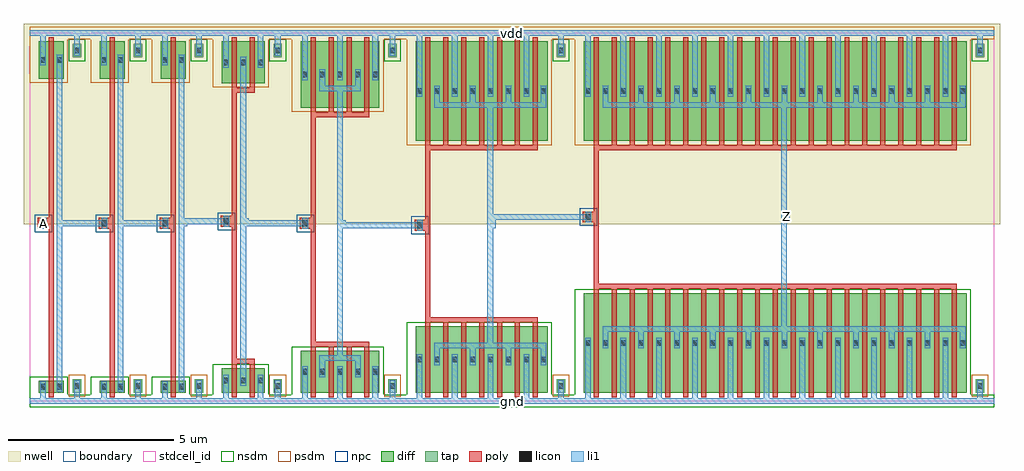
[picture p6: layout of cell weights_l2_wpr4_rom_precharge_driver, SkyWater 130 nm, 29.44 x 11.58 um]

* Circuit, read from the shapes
.subckt weights_l2_wpr4_rom_precharge_driver A Z gnd vdd
XM1 weights_l2_wpr4_pinv_1/A A gnd gnd sky130_fd_pr__nfet_01v8 w=0.36 l=0.15
XM2 weights_l2_wpr4_pinv_2/A weights_l2_wpr4_pinv_1/A gnd gnd sky130_fd_pr__nfet_01v8 w=0.36 l=0.15
XM3 weights_l2_wpr4_pinv_0_3/A weights_l2_wpr4_pinv_2/A gnd gnd sky130_fd_pr__nfet_01v8 w=0.36 l=0.15
XM4 weights_l2_wpr4_pinv_2_4/A weights_l2_wpr4_pinv_0_3/A gnd gnd sky130_fd_pr__nfet_01v8 w=0.74 l=0.15 m=2
XM5 weights_l2_wpr4_pinv_3_5/A weights_l2_wpr4_pinv_2_4/A gnd gnd sky130_fd_pr__nfet_01v8 w=1.26 l=0.15 m=4
XM6 weights_l2_wpr4_pinv_4_6/A weights_l2_wpr4_pinv_3_5/A gnd gnd sky130_fd_pr__nfet_01v8 w=2 l=0.15 m=7
XM7 Z weights_l2_wpr4_pinv_4_6/A gnd gnd sky130_fd_pr__nfet_01v8 w=3 l=0.15 m=21
XM8 weights_l2_wpr4_pinv_1/A A vdd vdd sky130_fd_pr__pfet_01v8 w=1.12 l=0.15
XM9 weights_l2_wpr4_pinv_2/A weights_l2_wpr4_pinv_1/A vdd vdd sky130_fd_pr__pfet_01v8 w=1.12 l=0.15
XM10 weights_l2_wpr4_pinv_0_3/A weights_l2_wpr4_pinv_2/A vdd vdd sky130_fd_pr__pfet_01v8 w=1.12 l=0.15
XM11 weights_l2_wpr4_pinv_2_4/A weights_l2_wpr4_pinv_0_3/A vdd vdd sky130_fd_pr__pfet_01v8 w=1.26 l=0.15 m=2
XM12 weights_l2_wpr4_pinv_3_5/A weights_l2_wpr4_pinv_2_4/A vdd vdd sky130_fd_pr__pfet_01v8 w=2 l=0.15 m=4
XM13 weights_l2_wpr4_pinv_4_6/A weights_l2_wpr4_pinv_3_5/A vdd vdd sky130_fd_pr__pfet_01v8 w=3 l=0.15 m=7
XM14 Z weights_l2_wpr4_pinv_4_6/A vdd vdd sky130_fd_pr__pfet_01v8 w=3 l=0.15 m=21
.ends

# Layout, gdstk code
import gdstk
lib = gdstk.Library(unit=1e-6, precision=1e-09)
def R(c, l, rs):  # rectangles x0, y0, x1, y1
    for r in rs: c.add(gdstk.rectangle(r[:2], r[2:], *l))
def A(c, l, x, y, w, h, nx, ny, dx, dy):  # array of equal rectangles
    R(c, l, [(x+i*dx, y+j*dy, x+i*dx+w, y+j*dy+h) for i in range(nx) for j in range(ny)])
nwell = (64, 20)
diff = (65, 20)
tap = (65, 44)
poly = (66, 20)
licon = (66, 44)
li1 = (67, 20)
stdcell_id = (81, 4)
nsdm = (93, 44)
psdm = (94, 20)
npc = (95, 20)
boundary = (235, 4)

weights_l2_wpr4_contact_ = lib.new_cell('weights_l2_wpr4_contact_10')
R(weights_l2_wpr4_contact_, nwell, [(-0.295,-0.255,0.545,0.585)])
R(weights_l2_wpr4_contact_, diff, [(0,0.02,0.25,0.31)])
R(weights_l2_wpr4_contact_, licon, [(0.04,0.08,0.21,0.25)])
R(weights_l2_wpr4_contact_, li1, [(0.04,0,0.21,0.33)])
R(weights_l2_wpr4_contact_, stdcell_id, [(-0.295,-0.255,0.545,0.585)])
R(weights_l2_wpr4_contact_, psdm, [(-0.125,-0.105,0.375,0.435)])
R(weights_l2_wpr4_contact_, boundary, [(-0.295,-0.255,0.545,0.585)])

weights_l2_wpr4_pmos_m1_ = lib.new_cell('weights_l2_wpr4_pmos_m1_w1_120_sli_dli_da_p')
R(weights_l2_wpr4_pmos_m1_, nwell, [(-0.27,-0.27,1.02,1.39)])
R(weights_l2_wpr4_pmos_m1_, diff, [(0,0,0.75,1.12)])
R(weights_l2_wpr4_pmos_m1_, poly, [(0.3,-0.13,0.45,1.25), (0.3,-0.13,0.45,1.25)])
R(weights_l2_wpr4_pmos_m1_, li1, [(0.04,0.395,0.21,0.725), (0.54,0.395,0.71,0.725)])
R(weights_l2_wpr4_pmos_m1_, stdcell_id, [(-0.27,-0.27,1.02,1.39)])
R(weights_l2_wpr4_pmos_m1_, psdm, [(-0.125,-0.125,0.875,1.245)])
R(weights_l2_wpr4_pmos_m1_, boundary, [(-0.27,-0.27,1.02,1.39)])
weights_l2_wpr4_pmos_m1_.add(gdstk.Reference(weights_l2_wpr4_contact_, (0,0.395)))
weights_l2_wpr4_pmos_m1_.add(gdstk.Reference(weights_l2_wpr4_contact_, (0.5,0.395)))
weights_l2_wpr4_pmos_m1_.add(gdstk.Label('G', (0.375,0.56), layer=66, texttype=5))
weights_l2_wpr4_pmos_m1_.add(gdstk.Label('S', (0.125,0.56), layer=67, texttype=5))
weights_l2_wpr4_pmos_m1_.add(gdstk.Label('D', (0.625,0.56), layer=67, texttype=5))

c_weights_l2_wpr4_contact_ = lib.new_cell('weights_l2_wpr4_contact_8')
R(c_weights_l2_wpr4_contact_, diff, [(0,0.02,0.25,0.31)])
R(c_weights_l2_wpr4_contact_, licon, [(0.04,0.08,0.21,0.25)])
R(c_weights_l2_wpr4_contact_, li1, [(0.04,0,0.21,0.33)])
R(c_weights_l2_wpr4_contact_, stdcell_id, [(-0.125,-0.105,0.375,0.435)])
R(c_weights_l2_wpr4_contact_, nsdm, [(-0.125,-0.105,0.375,0.435)])
R(c_weights_l2_wpr4_contact_, boundary, [(-0.125,-0.105,0.375,0.435)])

weights_l2_wpr4_nmos_m1_ = lib.new_cell('weights_l2_wpr4_nmos_m1_w0_360_sli_dli_da_p')
R(weights_l2_wpr4_nmos_m1_, diff, [(0,0,0.75,0.36)])
R(weights_l2_wpr4_nmos_m1_, poly, [(0.3,-0.13,0.45,0.49), (0.3,-0.13,0.45,0.49)])
R(weights_l2_wpr4_nmos_m1_, li1, [(0.04,0.015,0.21,0.345), (0.54,0.015,0.71,0.345)])
R(weights_l2_wpr4_nmos_m1_, stdcell_id, [(-0.125,-0.13,0.875,0.49)])
R(weights_l2_wpr4_nmos_m1_, nsdm, [(-0.125,-0.125,0.875,0.485)])
R(weights_l2_wpr4_nmos_m1_, boundary, [(-0.125,-0.13,0.875,0.49)])
weights_l2_wpr4_nmos_m1_.add(gdstk.Reference(c_weights_l2_wpr4_contact_, (0,0.015)))
weights_l2_wpr4_nmos_m1_.add(gdstk.Reference(c_weights_l2_wpr4_contact_, (0.5,0.015)))
weights_l2_wpr4_nmos_m1_.add(gdstk.Label('G', (0.375,0.18), layer=66, texttype=5))
weights_l2_wpr4_nmos_m1_.add(gdstk.Label('S', (0.125,0.18), layer=67, texttype=5))
weights_l2_wpr4_nmos_m1_.add(gdstk.Label('D', (0.625,0.18), layer=67, texttype=5))

c_weights_l2_wpr4_contact__ = lib.new_cell('weights_l2_wpr4_contact_26')
R(c_weights_l2_wpr4_contact__, nwell, [(-0.295,-0.215,0.545,0.625)])
R(c_weights_l2_wpr4_contact__, tap, [(0,0,0.25,0.41)])
R(c_weights_l2_wpr4_contact__, licon, [(0.04,0.12,0.21,0.29)])
R(c_weights_l2_wpr4_contact__, li1, [(0.04,0.04,0.21,0.37)])
R(c_weights_l2_wpr4_contact__, stdcell_id, [(-0.295,-0.215,0.545,0.625)])
R(c_weights_l2_wpr4_contact__, nsdm, [(-0.125,-0.125,0.375,0.535)])
R(c_weights_l2_wpr4_contact__, boundary, [(-0.295,-0.215,0.545,0.625)])

c_weights_l2_wpr4_contact___ = lib.new_cell('weights_l2_wpr4_contact_27')
R(c_weights_l2_wpr4_contact___, tap, [(0,0,0.25,0.41)])
R(c_weights_l2_wpr4_contact___, licon, [(0.04,0.12,0.21,0.29)])
R(c_weights_l2_wpr4_contact___, li1, [(0.04,0.04,0.21,0.37)])
R(c_weights_l2_wpr4_contact___, stdcell_id, [(-0.125,-0.125,0.375,0.535)])
R(c_weights_l2_wpr4_contact___, psdm, [(-0.125,-0.125,0.375,0.535)])
R(c_weights_l2_wpr4_contact___, boundary, [(-0.125,-0.125,0.375,0.535)])

c_weights_l2_wpr4_contact____ = lib.new_cell('weights_l2_wpr4_contact_11')
R(c_weights_l2_wpr4_contact____, poly, [(0,0,0.33,0.33)])
R(c_weights_l2_wpr4_contact____, licon, [(0.08,0.08,0.25,0.25)])
R(c_weights_l2_wpr4_contact____, li1, [(0.08,0,0.25,0.33)])
R(c_weights_l2_wpr4_contact____, stdcell_id, [(-0.1,-0.1,0.43,0.43)])
R(c_weights_l2_wpr4_contact____, npc, [(-0.1,-0.1,0.43,0.43)])
R(c_weights_l2_wpr4_contact____, boundary, [(-0.1,-0.1,0.43,0.43)])

weights_l2_wpr4_pinv = lib.new_cell('weights_l2_wpr4_pinv')
R(weights_l2_wpr4_pinv, nwell, [(-0.18,5.33,2.02,11.39)])
R(weights_l2_wpr4_pinv, poly, [(0.57,0.745,0.72,9.6), (0.405,5.2,0.57,5.53)])
R(weights_l2_wpr4_pinv, li1, [(0,-0.085,1.84,0.085), (0.31,-0.085,0.48,0.27), (1.33,0,1.5,0.46), (0.81,0.27,0.98,10.455), (0.32,5.2,0.49,5.53), (0.895,5.28,1.065,5.45), (0.31,10.125,0.48,11.19), (1.33,10.58,1.5,11.1), (0,11.02,1.84,11.19)])
R(weights_l2_wpr4_pinv, stdcell_id, [(0,0,1.84,11.1), (0,0,1.84,11.1)])
R(weights_l2_wpr4_pinv, nsdm, [(0,-0.19,1.84,0.19), (0,0,1.145,0.74)])
R(weights_l2_wpr4_pinv, psdm, [(0,9.605,1.145,11.105), (0,10.91,1.84,11.29)])
R(weights_l2_wpr4_pinv, boundary, [(0,0,1.84,11.1), (0,0,1.84,11.1)])
weights_l2_wpr4_pinv.add(gdstk.Reference(weights_l2_wpr4_pmos_m1_, (0.27,9.73)))
weights_l2_wpr4_pinv.add(gdstk.Reference(weights_l2_wpr4_nmos_m1_, (0.27,0.255)))
weights_l2_wpr4_pinv.add(gdstk.Reference(c_weights_l2_wpr4_contact__, (1.29,10.375)))
weights_l2_wpr4_pinv.add(gdstk.Reference(c_weights_l2_wpr4_contact___, (1.29,0.255)))
weights_l2_wpr4_pinv.add(gdstk.Reference(c_weights_l2_wpr4_contact____, (0.24,5.2)))
weights_l2_wpr4_pinv.add(gdstk.Label('A', (0.405,5.365), layer=67, texttype=5))
weights_l2_wpr4_pinv.add(gdstk.Label('Z', (0.98,5.365), layer=67, texttype=5))
weights_l2_wpr4_pinv.add(gdstk.Label('gnd', (0.92,0), layer=67, texttype=5))
weights_l2_wpr4_pinv.add(gdstk.Label('vdd', (0.92,11.105), layer=67, texttype=5))

weights_l2_wpr4_pmos_m2_ = lib.new_cell('weights_l2_wpr4_pmos_m2_w1_260_sli_dli_da_p')
R(weights_l2_wpr4_pmos_m2_, nwell, [(-0.27,-0.27,1.56,1.53)])
R(weights_l2_wpr4_pmos_m2_, diff, [(0,0,1.29,1.26)])
R(weights_l2_wpr4_pmos_m2_, poly, [(0.3,-0.28,0.99,-0.13), (0.3,-0.13,0.45,1.39), (0.84,-0.13,0.99,1.39)])
A(weights_l2_wpr4_pmos_m2_, li1, 0.04, 0.465, 0.17, 0.33, 3, 1, 0.52, 0)
R(weights_l2_wpr4_pmos_m2_, stdcell_id, [(-0.27,-0.28,1.56,1.53)])
R(weights_l2_wpr4_pmos_m2_, psdm, [(-0.125,-0.125,1.415,1.385)])
R(weights_l2_wpr4_pmos_m2_, boundary, [(-0.27,-0.28,1.56,1.53)])
weights_l2_wpr4_pmos_m2_.add(gdstk.Reference(weights_l2_wpr4_contact_, (0,0.465)))
weights_l2_wpr4_pmos_m2_.add(gdstk.Reference(weights_l2_wpr4_contact_, (0.52,0.465)))
weights_l2_wpr4_pmos_m2_.add(gdstk.Reference(weights_l2_wpr4_contact_, (1.04,0.465)))
weights_l2_wpr4_pmos_m2_.add(gdstk.Label('G', (0.645,-0.205), layer=66, texttype=5))
weights_l2_wpr4_pmos_m2_.add(gdstk.Label('S', (0.125,0.63), layer=67, texttype=5))
weights_l2_wpr4_pmos_m2_.add(gdstk.Label('S', (1.165,0.63), layer=67, texttype=5))
weights_l2_wpr4_pmos_m2_.add(gdstk.Label('D', (0.645,0.63), layer=67, texttype=5))

weights_l2_wpr4_nmos_m2_ = lib.new_cell('weights_l2_wpr4_nmos_m2_w0_740_sli_dli_da_p')
R(weights_l2_wpr4_nmos_m2_, diff, [(0,0,1.29,0.74)])
R(weights_l2_wpr4_nmos_m2_, poly, [(0.3,-0.13,0.45,0.87), (0.84,-0.13,0.99,0.87), (0.3,0.87,0.99,1.02)])
A(weights_l2_wpr4_nmos_m2_, li1, 0.04, 0.205, 0.17, 0.33, 3, 1, 0.52, 0)
R(weights_l2_wpr4_nmos_m2_, stdcell_id, [(-0.125,-0.13,1.415,1.02)])
R(weights_l2_wpr4_nmos_m2_, nsdm, [(-0.125,-0.125,1.415,0.865)])
R(weights_l2_wpr4_nmos_m2_, boundary, [(-0.125,-0.13,1.415,1.02)])
weights_l2_wpr4_nmos_m2_.add(gdstk.Reference(c_weights_l2_wpr4_contact_, (0,0.205)))
weights_l2_wpr4_nmos_m2_.add(gdstk.Reference(c_weights_l2_wpr4_contact_, (0.52,0.205)))
weights_l2_wpr4_nmos_m2_.add(gdstk.Reference(c_weights_l2_wpr4_contact_, (1.04,0.205)))
weights_l2_wpr4_nmos_m2_.add(gdstk.Label('G', (0.645,0.945), layer=66, texttype=5))
weights_l2_wpr4_nmos_m2_.add(gdstk.Label('S', (0.125,0.37), layer=67, texttype=5))
weights_l2_wpr4_nmos_m2_.add(gdstk.Label('S', (1.165,0.37), layer=67, texttype=5))
weights_l2_wpr4_nmos_m2_.add(gdstk.Label('D', (0.645,0.37), layer=67, texttype=5))

weights_l2_wpr4_pinv_0 = lib.new_cell('weights_l2_wpr4_pinv_0')
R(weights_l2_wpr4_pinv_0, nwell, [(-0.18,5.33,2.56,11.39)])
R(weights_l2_wpr4_pinv_0, poly, [(0.57,1.275,0.72,9.31), (0.405,5.26,0.57,5.59)])
R(weights_l2_wpr4_pinv_0, li1, [(0,-0.085,2.38,0.085), (0.31,-0.085,0.48,0.46), (1.35,-0.085,1.52,0.46), (1.87,0,2.04,0.46), (0.83,0.46,1,10.385), (0.32,5.26,0.49,5.59), (0.915,5.34,1.085,5.51), (0.31,10.055,0.48,11.19), (1.35,10.055,1.52,11.19), (1.87,10.58,2.04,11.1), (0,11.02,2.38,11.19)])
R(weights_l2_wpr4_pinv_0, stdcell_id, [(0,0,2.38,11.1), (0,0,2.38,11.1)])
R(weights_l2_wpr4_pinv_0, nsdm, [(0,-0.19,2.38,0.19), (0,0,1.685,1.12)])
R(weights_l2_wpr4_pinv_0, psdm, [(0,9.465,1.685,11.105), (0,10.91,2.38,11.29)])
R(weights_l2_wpr4_pinv_0, boundary, [(0,0,2.38,11.1), (0,0,2.38,11.1)])
weights_l2_wpr4_pinv_0.add(gdstk.Reference(weights_l2_wpr4_pmos_m2_, (0.27,9.59)))
weights_l2_wpr4_pinv_0.add(gdstk.Reference(weights_l2_wpr4_nmos_m2_, (0.27,0.255)))
weights_l2_wpr4_pinv_0.add(gdstk.Reference(c_weights_l2_wpr4_contact__, (1.83,10.375)))
weights_l2_wpr4_pinv_0.add(gdstk.Reference(c_weights_l2_wpr4_contact___, (1.83,0.255)))
weights_l2_wpr4_pinv_0.add(gdstk.Reference(c_weights_l2_wpr4_contact____, (0.24,5.26)))
weights_l2_wpr4_pinv_0.add(gdstk.Label('A', (0.405,5.425), layer=67, texttype=5))
weights_l2_wpr4_pinv_0.add(gdstk.Label('Z', (1,5.425), layer=67, texttype=5))
weights_l2_wpr4_pinv_0.add(gdstk.Label('gnd', (1.19,0), layer=67, texttype=5))
weights_l2_wpr4_pinv_0.add(gdstk.Label('vdd', (1.19,11.105), layer=67, texttype=5))

weights_l2_wpr4_pmos_m4_ = lib.new_cell('weights_l2_wpr4_pmos_m4_w2_000_sli_dli_da_p')
R(weights_l2_wpr4_pmos_m4_, nwell, [(-0.27,-0.27,2.64,2.27)])
R(weights_l2_wpr4_pmos_m4_, diff, [(0,0,2.37,2)])
A(weights_l2_wpr4_pmos_m4_, poly, 0.3, -0.13, 0.15, 2.26, 4, 1, 0.54, 0)
R(weights_l2_wpr4_pmos_m4_, poly, [(0.3,-0.28,2.07,-0.13)])
A(weights_l2_wpr4_pmos_m4_, li1, 0.04, 0.835, 0.17, 0.33, 3, 1, 1.06, 0)
R(weights_l2_wpr4_pmos_m4_, li1, [(0.56,0.495,1.81,0.665), (0.56,0.58,0.73,1), (1.64,0.58,1.81,1)])
R(weights_l2_wpr4_pmos_m4_, stdcell_id, [(-0.27,-0.28,2.64,2.27)])
R(weights_l2_wpr4_pmos_m4_, psdm, [(-0.125,-0.125,2.495,2.125)])
R(weights_l2_wpr4_pmos_m4_, boundary, [(-0.27,-0.28,2.64,2.27)])
weights_l2_wpr4_pmos_m4_.add(gdstk.Reference(weights_l2_wpr4_contact_, (0,0.835)))
weights_l2_wpr4_pmos_m4_.add(gdstk.Reference(weights_l2_wpr4_contact_, (0.52,0.835)))
weights_l2_wpr4_pmos_m4_.add(gdstk.Reference(weights_l2_wpr4_contact_, (1.06,0.835)))
weights_l2_wpr4_pmos_m4_.add(gdstk.Reference(weights_l2_wpr4_contact_, (1.6,0.835)))
weights_l2_wpr4_pmos_m4_.add(gdstk.Reference(weights_l2_wpr4_contact_, (2.12,0.835)))
weights_l2_wpr4_pmos_m4_.add(gdstk.Label('G', (1.185,-0.205), layer=66, texttype=5))
weights_l2_wpr4_pmos_m4_.add(gdstk.Label('S', (0.125,1), layer=67, texttype=5))
weights_l2_wpr4_pmos_m4_.add(gdstk.Label('S', (1.185,1), layer=67, texttype=5))
weights_l2_wpr4_pmos_m4_.add(gdstk.Label('S', (2.245,1), layer=67, texttype=5))
weights_l2_wpr4_pmos_m4_.add(gdstk.Label('D', (1.185,0.58), layer=67, texttype=5))

weights_l2_wpr4_nmos_m4_ = lib.new_cell('weights_l2_wpr4_nmos_m4_w1_260_sli_dli_da_p')
R(weights_l2_wpr4_nmos_m4_, diff, [(0,0,2.37,1.26)])
A(weights_l2_wpr4_nmos_m4_, poly, 0.3, -0.13, 0.15, 1.52, 4, 1, 0.54, 0)
R(weights_l2_wpr4_nmos_m4_, poly, [(0.3,1.39,2.07,1.54)])
A(weights_l2_wpr4_nmos_m4_, li1, 0.04, 0.465, 0.17, 0.33, 3, 1, 1.06, 0)
R(weights_l2_wpr4_nmos_m4_, li1, [(0.56,0.63,0.73,1.05), (1.64,0.63,1.81,1.05), (0.56,0.965,1.81,1.135)])
R(weights_l2_wpr4_nmos_m4_, stdcell_id, [(-0.125,-0.13,2.495,1.54)])
R(weights_l2_wpr4_nmos_m4_, nsdm, [(-0.125,-0.125,2.495,1.385)])
R(weights_l2_wpr4_nmos_m4_, boundary, [(-0.125,-0.13,2.495,1.54)])
weights_l2_wpr4_nmos_m4_.add(gdstk.Reference(c_weights_l2_wpr4_contact_, (0,0.465)))
weights_l2_wpr4_nmos_m4_.add(gdstk.Reference(c_weights_l2_wpr4_contact_, (0.52,0.465)))
weights_l2_wpr4_nmos_m4_.add(gdstk.Reference(c_weights_l2_wpr4_contact_, (1.06,0.465)))
weights_l2_wpr4_nmos_m4_.add(gdstk.Reference(c_weights_l2_wpr4_contact_, (1.6,0.465)))
weights_l2_wpr4_nmos_m4_.add(gdstk.Reference(c_weights_l2_wpr4_contact_, (2.12,0.465)))
weights_l2_wpr4_nmos_m4_.add(gdstk.Label('G', (1.185,1.465), layer=66, texttype=5))
weights_l2_wpr4_nmos_m4_.add(gdstk.Label('S', (2.245,0.63), layer=67, texttype=5))
weights_l2_wpr4_nmos_m4_.add(gdstk.Label('S', (0.125,0.63), layer=67, texttype=5))
weights_l2_wpr4_nmos_m4_.add(gdstk.Label('S', (1.185,0.63), layer=67, texttype=5))
weights_l2_wpr4_nmos_m4_.add(gdstk.Label('D', (1.185,1.05), layer=67, texttype=5))

weights_l2_wpr4_pinv_2 = lib.new_cell('weights_l2_wpr4_pinv_2')
R(weights_l2_wpr4_pinv_2, nwell, [(-0.18,5.33,3.64,11.39)])
R(weights_l2_wpr4_pinv_2, poly, [(0.57,1.795,0.72,8.57), (0.405,5.2,0.57,5.53)])
A(weights_l2_wpr4_pinv_2, li1, 0.31, -0.085, 0.17, 0.805, 3, 1, 1.06, 0)
A(weights_l2_wpr4_pinv_2, li1, 0.31, 9.685, 0.17, 1.505, 3, 1, 1.06, 0)
R(weights_l2_wpr4_pinv_2, li1, [(0,-0.085,3.46,0.085), (2.95,0,3.12,0.46), (1.37,1.22,1.54,9.515), (0.32,5.2,0.49,5.53), (1.455,5.28,1.625,5.45), (2.95,10.58,3.12,11.1), (0,11.02,3.46,11.19)])
R(weights_l2_wpr4_pinv_2, stdcell_id, [(0,0,3.46,11.1), (0,0,3.46,11.1)])
R(weights_l2_wpr4_pinv_2, nsdm, [(0,-0.19,3.46,0.19), (0,0,2.765,1.64)])
R(weights_l2_wpr4_pinv_2, psdm, [(0,8.725,2.765,11.105), (0,10.91,3.46,11.29)])
R(weights_l2_wpr4_pinv_2, boundary, [(0,0,3.46,11.1), (0,0,3.46,11.1)])
weights_l2_wpr4_pinv_2.add(gdstk.Reference(weights_l2_wpr4_pmos_m4_, (0.27,8.85)))
weights_l2_wpr4_pinv_2.add(gdstk.Reference(weights_l2_wpr4_nmos_m4_, (0.27,0.255)))
weights_l2_wpr4_pinv_2.add(gdstk.Reference(c_weights_l2_wpr4_contact__, (2.91,10.375)))
weights_l2_wpr4_pinv_2.add(gdstk.Reference(c_weights_l2_wpr4_contact___, (2.91,0.255)))
weights_l2_wpr4_pinv_2.add(gdstk.Reference(c_weights_l2_wpr4_contact____, (0.24,5.2)))
weights_l2_wpr4_pinv_2.add(gdstk.Label('A', (0.405,5.365), layer=67, texttype=5))
weights_l2_wpr4_pinv_2.add(gdstk.Label('Z', (1.54,5.365), layer=67, texttype=5))
weights_l2_wpr4_pinv_2.add(gdstk.Label('gnd', (1.73,0), layer=67, texttype=5))
weights_l2_wpr4_pinv_2.add(gdstk.Label('vdd', (1.73,11.105), layer=67, texttype=5))

weights_l2_wpr4_pmos_m7_ = lib.new_cell('weights_l2_wpr4_pmos_m7_w3_000_sli_dli_da_p')
R(weights_l2_wpr4_pmos_m7_, nwell, [(-0.27,-0.27,4.26,3.27)])
R(weights_l2_wpr4_pmos_m7_, diff, [(0,0,3.99,3)])
A(weights_l2_wpr4_pmos_m7_, poly, 0.3, -0.13, 0.15, 3.26, 7, 1, 0.54, 0)
R(weights_l2_wpr4_pmos_m7_, poly, [(0.3,-0.28,3.69,-0.13)])
A(weights_l2_wpr4_pmos_m7_, li1, 0.56, 1.08, 0.17, 0.42, 3, 1, 1.08, 0)
A(weights_l2_wpr4_pmos_m7_, li1, 1.1, 1.335, 0.17, 0.33, 3, 1, 1.08, 0)
R(weights_l2_wpr4_pmos_m7_, li1, [(0.56,0.995,3.95,1.165), (3.78,1.08,3.95,1.5), (0.04,1.335,0.21,1.665)])
R(weights_l2_wpr4_pmos_m7_, stdcell_id, [(-0.27,-0.28,4.26,3.27)])
R(weights_l2_wpr4_pmos_m7_, psdm, [(-0.125,-0.125,4.115,3.125)])
R(weights_l2_wpr4_pmos_m7_, boundary, [(-0.27,-0.28,4.26,3.27)])
weights_l2_wpr4_pmos_m7_.add(gdstk.Reference(weights_l2_wpr4_contact_, (0,1.335)))
weights_l2_wpr4_pmos_m7_.add(gdstk.Reference(weights_l2_wpr4_contact_, (0.52,1.335)))
weights_l2_wpr4_pmos_m7_.add(gdstk.Reference(weights_l2_wpr4_contact_, (1.06,1.335)))
weights_l2_wpr4_pmos_m7_.add(gdstk.Reference(weights_l2_wpr4_contact_, (1.6,1.335)))
weights_l2_wpr4_pmos_m7_.add(gdstk.Reference(weights_l2_wpr4_contact_, (2.14,1.335)))
weights_l2_wpr4_pmos_m7_.add(gdstk.Reference(weights_l2_wpr4_contact_, (2.68,1.335)))
weights_l2_wpr4_pmos_m7_.add(gdstk.Reference(weights_l2_wpr4_contact_, (3.22,1.335)))
weights_l2_wpr4_pmos_m7_.add(gdstk.Reference(weights_l2_wpr4_contact_, (3.74,1.335)))
weights_l2_wpr4_pmos_m7_.add(gdstk.Label('G', (1.995,-0.205), layer=66, texttype=5))
weights_l2_wpr4_pmos_m7_.add(gdstk.Label('S', (2.265,1.5), layer=67, texttype=5))
weights_l2_wpr4_pmos_m7_.add(gdstk.Label('S', (0.125,1.5), layer=67, texttype=5))
weights_l2_wpr4_pmos_m7_.add(gdstk.Label('S', (3.345,1.5), layer=67, texttype=5))
weights_l2_wpr4_pmos_m7_.add(gdstk.Label('S', (1.185,1.5), layer=67, texttype=5))
weights_l2_wpr4_pmos_m7_.add(gdstk.Label('D', (2.255,1.08), layer=67, texttype=5))

weights_l2_wpr4_nmos_m7_ = lib.new_cell('weights_l2_wpr4_nmos_m7_w2_000_sli_dli_da_p')
R(weights_l2_wpr4_nmos_m7_, diff, [(0,0,3.99,2)])
A(weights_l2_wpr4_nmos_m7_, poly, 0.3, -0.13, 0.15, 2.26, 7, 1, 0.54, 0)
R(weights_l2_wpr4_nmos_m7_, poly, [(0.3,2.13,3.69,2.28)])
A(weights_l2_wpr4_nmos_m7_, li1, 1.1, 0.835, 0.17, 0.33, 3, 1, 1.08, 0)
A(weights_l2_wpr4_nmos_m7_, li1, 0.56, 1, 0.17, 0.42, 3, 1, 1.08, 0)
R(weights_l2_wpr4_nmos_m7_, li1, [(0.04,0.835,0.21,1.165), (3.78,1,3.95,1.42), (0.56,1.335,3.95,1.505)])
R(weights_l2_wpr4_nmos_m7_, stdcell_id, [(-0.125,-0.13,4.115,2.28)])
R(weights_l2_wpr4_nmos_m7_, nsdm, [(-0.125,-0.125,4.115,2.125)])
R(weights_l2_wpr4_nmos_m7_, boundary, [(-0.125,-0.13,4.115,2.28)])
weights_l2_wpr4_nmos_m7_.add(gdstk.Reference(c_weights_l2_wpr4_contact_, (0,0.835)))
weights_l2_wpr4_nmos_m7_.add(gdstk.Reference(c_weights_l2_wpr4_contact_, (0.52,0.835)))
weights_l2_wpr4_nmos_m7_.add(gdstk.Reference(c_weights_l2_wpr4_contact_, (1.06,0.835)))
weights_l2_wpr4_nmos_m7_.add(gdstk.Reference(c_weights_l2_wpr4_contact_, (1.6,0.835)))
weights_l2_wpr4_nmos_m7_.add(gdstk.Reference(c_weights_l2_wpr4_contact_, (2.14,0.835)))
weights_l2_wpr4_nmos_m7_.add(gdstk.Reference(c_weights_l2_wpr4_contact_, (2.68,0.835)))
weights_l2_wpr4_nmos_m7_.add(gdstk.Reference(c_weights_l2_wpr4_contact_, (3.22,0.835)))
weights_l2_wpr4_nmos_m7_.add(gdstk.Reference(c_weights_l2_wpr4_contact_, (3.74,0.835)))
weights_l2_wpr4_nmos_m7_.add(gdstk.Label('G', (1.995,2.205), layer=66, texttype=5))
weights_l2_wpr4_nmos_m7_.add(gdstk.Label('S', (0.125,1), layer=67, texttype=5))
weights_l2_wpr4_nmos_m7_.add(gdstk.Label('S', (2.265,1), layer=67, texttype=5))
weights_l2_wpr4_nmos_m7_.add(gdstk.Label('S', (1.185,1), layer=67, texttype=5))
weights_l2_wpr4_nmos_m7_.add(gdstk.Label('S', (3.345,1), layer=67, texttype=5))
weights_l2_wpr4_nmos_m7_.add(gdstk.Label('D', (2.255,1.42), layer=67, texttype=5))

weights_l2_wpr4_pinv_3 = lib.new_cell('weights_l2_wpr4_pinv_3')
R(weights_l2_wpr4_pinv_3, nwell, [(-0.18,5.33,5.26,11.39)])
R(weights_l2_wpr4_pinv_3, poly, [(0.57,2.535,0.72,7.57), (0.405,5.14,0.57,5.47)])
A(weights_l2_wpr4_pinv_3, li1, 1.37, -0.085, 0.17, 1.175, 3, 1, 1.08, 0)
A(weights_l2_wpr4_pinv_3, li1, 1.37, 9.185, 0.17, 2.005, 3, 1, 1.08, 0)
R(weights_l2_wpr4_pinv_3, li1, [(0,-0.085,5.08,0.085), (0.31,-0.085,0.48,1.09), (4.57,0,4.74,0.46), (2.44,1.59,2.61,9.015), (0.32,5.14,0.49,5.47), (2.525,5.22,2.695,5.39), (0.31,9.185,0.48,11.19), (4.57,10.58,4.74,11.1), (0,11.02,5.08,11.19)])
R(weights_l2_wpr4_pinv_3, stdcell_id, [(0,0,5.08,11.1), (0,0,5.08,11.1)])
R(weights_l2_wpr4_pinv_3, nsdm, [(0,-0.19,5.08,0.19), (0,0,4.385,2.38)])
R(weights_l2_wpr4_pinv_3, psdm, [(0,7.725,4.385,11.105), (0,10.91,5.08,11.29)])
R(weights_l2_wpr4_pinv_3, boundary, [(0,0,5.08,11.1), (0,0,5.08,11.1)])
weights_l2_wpr4_pinv_3.add(gdstk.Reference(weights_l2_wpr4_pmos_m7_, (0.27,7.85)))
weights_l2_wpr4_pinv_3.add(gdstk.Reference(weights_l2_wpr4_nmos_m7_, (0.27,0.255)))
weights_l2_wpr4_pinv_3.add(gdstk.Reference(c_weights_l2_wpr4_contact__, (4.53,10.375)))
weights_l2_wpr4_pinv_3.add(gdstk.Reference(c_weights_l2_wpr4_contact___, (4.53,0.255)))
weights_l2_wpr4_pinv_3.add(gdstk.Reference(c_weights_l2_wpr4_contact____, (0.24,5.14)))
weights_l2_wpr4_pinv_3.add(gdstk.Label('A', (0.405,5.305), layer=67, texttype=5))
weights_l2_wpr4_pinv_3.add(gdstk.Label('Z', (2.61,5.305), layer=67, texttype=5))
weights_l2_wpr4_pinv_3.add(gdstk.Label('gnd', (2.54,0), layer=67, texttype=5))
weights_l2_wpr4_pinv_3.add(gdstk.Label('vdd', (2.54,11.105), layer=67, texttype=5))

weights_l2_wpr4_pmos_m21 = lib.new_cell('weights_l2_wpr4_pmos_m21_w3_000_sli_dli_da_p')
R(weights_l2_wpr4_pmos_m21, nwell, [(-0.27,-0.27,11.82,3.27)])
R(weights_l2_wpr4_pmos_m21, diff, [(0,0,11.55,3)])
A(weights_l2_wpr4_pmos_m21, poly, 0.3, -0.13, 0.15, 3.26, 21, 1, 0.54, 0)
R(weights_l2_wpr4_pmos_m21, poly, [(0.3,-0.28,11.25,-0.13)])
A(weights_l2_wpr4_pmos_m21, li1, 0.56, 1.08, 0.17, 0.42, 10, 1, 1.08, 0)
A(weights_l2_wpr4_pmos_m21, li1, 1.1, 1.335, 0.17, 0.33, 10, 1, 1.08, 0)
R(weights_l2_wpr4_pmos_m21, li1, [(0.56,0.995,11.51,1.165), (11.34,1.08,11.51,1.5), (0.04,1.335,0.21,1.665)])
R(weights_l2_wpr4_pmos_m21, stdcell_id, [(-0.27,-0.28,11.82,3.27)])
R(weights_l2_wpr4_pmos_m21, psdm, [(-0.125,-0.125,11.675,3.125)])
R(weights_l2_wpr4_pmos_m21, boundary, [(-0.27,-0.28,11.82,3.27)])
weights_l2_wpr4_pmos_m21.add(gdstk.Reference(weights_l2_wpr4_contact_, (0,1.335)))
weights_l2_wpr4_pmos_m21.add(gdstk.Reference(weights_l2_wpr4_contact_, (0.52,1.335)))
weights_l2_wpr4_pmos_m21.add(gdstk.Reference(weights_l2_wpr4_contact_, (1.06,1.335)))
weights_l2_wpr4_pmos_m21.add(gdstk.Reference(weights_l2_wpr4_contact_, (1.6,1.335)))
weights_l2_wpr4_pmos_m21.add(gdstk.Reference(weights_l2_wpr4_contact_, (2.14,1.335)))
weights_l2_wpr4_pmos_m21.add(gdstk.Reference(weights_l2_wpr4_contact_, (2.68,1.335)))
weights_l2_wpr4_pmos_m21.add(gdstk.Reference(weights_l2_wpr4_contact_, (3.22,1.335)))
weights_l2_wpr4_pmos_m21.add(gdstk.Reference(weights_l2_wpr4_contact_, (3.76,1.335)))
weights_l2_wpr4_pmos_m21.add(gdstk.Reference(weights_l2_wpr4_contact_, (4.3,1.335)))
weights_l2_wpr4_pmos_m21.add(gdstk.Reference(weights_l2_wpr4_contact_, (4.84,1.335)))
weights_l2_wpr4_pmos_m21.add(gdstk.Reference(weights_l2_wpr4_contact_, (5.38,1.335)))
weights_l2_wpr4_pmos_m21.add(gdstk.Reference(weights_l2_wpr4_contact_, (5.92,1.335)))
weights_l2_wpr4_pmos_m21.add(gdstk.Reference(weights_l2_wpr4_contact_, (6.46,1.335)))
weights_l2_wpr4_pmos_m21.add(gdstk.Reference(weights_l2_wpr4_contact_, (7,1.335)))
weights_l2_wpr4_pmos_m21.add(gdstk.Reference(weights_l2_wpr4_contact_, (7.54,1.335)))
weights_l2_wpr4_pmos_m21.add(gdstk.Reference(weights_l2_wpr4_contact_, (8.08,1.335)))
weights_l2_wpr4_pmos_m21.add(gdstk.Reference(weights_l2_wpr4_contact_, (8.62,1.335)))
weights_l2_wpr4_pmos_m21.add(gdstk.Reference(weights_l2_wpr4_contact_, (9.16,1.335)))
weights_l2_wpr4_pmos_m21.add(gdstk.Reference(weights_l2_wpr4_contact_, (9.7,1.335)))
weights_l2_wpr4_pmos_m21.add(gdstk.Reference(weights_l2_wpr4_contact_, (10.24,1.335)))
weights_l2_wpr4_pmos_m21.add(gdstk.Reference(weights_l2_wpr4_contact_, (10.78,1.335)))
weights_l2_wpr4_pmos_m21.add(gdstk.Reference(weights_l2_wpr4_contact_, (11.3,1.335)))
weights_l2_wpr4_pmos_m21.add(gdstk.Label('G', (5.775,-0.205), layer=66, texttype=5))
weights_l2_wpr4_pmos_m21.add(gdstk.Label('S', (5.505,1.5), layer=67, texttype=5))
weights_l2_wpr4_pmos_m21.add(gdstk.Label('S', (2.265,1.5), layer=67, texttype=5))
weights_l2_wpr4_pmos_m21.add(gdstk.Label('S', (0.125,1.5), layer=67, texttype=5))
weights_l2_wpr4_pmos_m21.add(gdstk.Label('S', (3.345,1.5), layer=67, texttype=5))
weights_l2_wpr4_pmos_m21.add(gdstk.Label('S', (1.185,1.5), layer=67, texttype=5))
weights_l2_wpr4_pmos_m21.add(gdstk.Label('S', (8.745,1.5), layer=67, texttype=5))
weights_l2_wpr4_pmos_m21.add(gdstk.Label('S', (6.585,1.5), layer=67, texttype=5))
weights_l2_wpr4_pmos_m21.add(gdstk.Label('S', (10.905,1.5), layer=67, texttype=5))
weights_l2_wpr4_pmos_m21.add(gdstk.Label('S', (7.665,1.5), layer=67, texttype=5))
weights_l2_wpr4_pmos_m21.add(gdstk.Label('S', (4.425,1.5), layer=67, texttype=5))
weights_l2_wpr4_pmos_m21.add(gdstk.Label('S', (9.825,1.5), layer=67, texttype=5))
weights_l2_wpr4_pmos_m21.add(gdstk.Label('D', (6.035,1.08), layer=67, texttype=5))

weights_l2_wpr4_nmos_m21 = lib.new_cell('weights_l2_wpr4_nmos_m21_w3_000_sli_dli_da_p')
R(weights_l2_wpr4_nmos_m21, diff, [(0,0,11.55,3)])
A(weights_l2_wpr4_nmos_m21, poly, 0.3, -0.13, 0.15, 3.26, 21, 1, 0.54, 0)
R(weights_l2_wpr4_nmos_m21, poly, [(0.3,3.13,11.25,3.28)])
A(weights_l2_wpr4_nmos_m21, li1, 1.1, 1.335, 0.17, 0.33, 10, 1, 1.08, 0)
A(weights_l2_wpr4_nmos_m21, li1, 0.56, 1.5, 0.17, 0.42, 10, 1, 1.08, 0)
R(weights_l2_wpr4_nmos_m21, li1, [(0.04,1.335,0.21,1.665), (11.34,1.5,11.51,1.92), (0.56,1.835,11.51,2.005)])
R(weights_l2_wpr4_nmos_m21, stdcell_id, [(-0.125,-0.13,11.675,3.28)])
R(weights_l2_wpr4_nmos_m21, nsdm, [(-0.125,-0.125,11.675,3.125)])
R(weights_l2_wpr4_nmos_m21, boundary, [(-0.125,-0.13,11.675,3.28)])
weights_l2_wpr4_nmos_m21.add(gdstk.Reference(c_weights_l2_wpr4_contact_, (0,1.335)))
weights_l2_wpr4_nmos_m21.add(gdstk.Reference(c_weights_l2_wpr4_contact_, (0.52,1.335)))
weights_l2_wpr4_nmos_m21.add(gdstk.Reference(c_weights_l2_wpr4_contact_, (1.06,1.335)))
weights_l2_wpr4_nmos_m21.add(gdstk.Reference(c_weights_l2_wpr4_contact_, (1.6,1.335)))
weights_l2_wpr4_nmos_m21.add(gdstk.Reference(c_weights_l2_wpr4_contact_, (2.14,1.335)))
weights_l2_wpr4_nmos_m21.add(gdstk.Reference(c_weights_l2_wpr4_contact_, (2.68,1.335)))
weights_l2_wpr4_nmos_m21.add(gdstk.Reference(c_weights_l2_wpr4_contact_, (3.22,1.335)))
weights_l2_wpr4_nmos_m21.add(gdstk.Reference(c_weights_l2_wpr4_contact_, (3.76,1.335)))
weights_l2_wpr4_nmos_m21.add(gdstk.Reference(c_weights_l2_wpr4_contact_, (4.3,1.335)))
weights_l2_wpr4_nmos_m21.add(gdstk.Reference(c_weights_l2_wpr4_contact_, (4.84,1.335)))
weights_l2_wpr4_nmos_m21.add(gdstk.Reference(c_weights_l2_wpr4_contact_, (5.38,1.335)))
weights_l2_wpr4_nmos_m21.add(gdstk.Reference(c_weights_l2_wpr4_contact_, (5.92,1.335)))
weights_l2_wpr4_nmos_m21.add(gdstk.Reference(c_weights_l2_wpr4_contact_, (6.46,1.335)))
weights_l2_wpr4_nmos_m21.add(gdstk.Reference(c_weights_l2_wpr4_contact_, (7,1.335)))
weights_l2_wpr4_nmos_m21.add(gdstk.Reference(c_weights_l2_wpr4_contact_, (7.54,1.335)))
weights_l2_wpr4_nmos_m21.add(gdstk.Reference(c_weights_l2_wpr4_contact_, (8.08,1.335)))
weights_l2_wpr4_nmos_m21.add(gdstk.Reference(c_weights_l2_wpr4_contact_, (8.62,1.335)))
weights_l2_wpr4_nmos_m21.add(gdstk.Reference(c_weights_l2_wpr4_contact_, (9.16,1.335)))
weights_l2_wpr4_nmos_m21.add(gdstk.Reference(c_weights_l2_wpr4_contact_, (9.7,1.335)))
weights_l2_wpr4_nmos_m21.add(gdstk.Reference(c_weights_l2_wpr4_contact_, (10.24,1.335)))
weights_l2_wpr4_nmos_m21.add(gdstk.Reference(c_weights_l2_wpr4_contact_, (10.78,1.335)))
weights_l2_wpr4_nmos_m21.add(gdstk.Reference(c_weights_l2_wpr4_contact_, (11.3,1.335)))
weights_l2_wpr4_nmos_m21.add(gdstk.Label('G', (5.775,3.205), layer=66, texttype=5))
weights_l2_wpr4_nmos_m21.add(gdstk.Label('S', (5.505,1.5), layer=67, texttype=5))
weights_l2_wpr4_nmos_m21.add(gdstk.Label('S', (2.265,1.5), layer=67, texttype=5))
weights_l2_wpr4_nmos_m21.add(gdstk.Label('S', (0.125,1.5), layer=67, texttype=5))
weights_l2_wpr4_nmos_m21.add(gdstk.Label('S', (3.345,1.5), layer=67, texttype=5))
weights_l2_wpr4_nmos_m21.add(gdstk.Label('S', (1.185,1.5), layer=67, texttype=5))
weights_l2_wpr4_nmos_m21.add(gdstk.Label('S', (8.745,1.5), layer=67, texttype=5))
weights_l2_wpr4_nmos_m21.add(gdstk.Label('S', (6.585,1.5), layer=67, texttype=5))
weights_l2_wpr4_nmos_m21.add(gdstk.Label('S', (10.905,1.5), layer=67, texttype=5))
weights_l2_wpr4_nmos_m21.add(gdstk.Label('S', (7.665,1.5), layer=67, texttype=5))
weights_l2_wpr4_nmos_m21.add(gdstk.Label('S', (4.425,1.5), layer=67, texttype=5))
weights_l2_wpr4_nmos_m21.add(gdstk.Label('S', (9.825,1.5), layer=67, texttype=5))
weights_l2_wpr4_nmos_m21.add(gdstk.Label('D', (6.035,1.92), layer=67, texttype=5))

weights_l2_wpr4_pinv_4 = lib.new_cell('weights_l2_wpr4_pinv_4')
R(weights_l2_wpr4_pinv_4, nwell, [(-0.18,5.33,12.82,11.39)])
R(weights_l2_wpr4_pinv_4, poly, [(0.57,3.535,0.72,7.57), (0.405,5.39,0.57,5.72)])
A(weights_l2_wpr4_pinv_4, li1, 1.37, -0.085, 0.17, 1.675, 10, 1, 1.08, 0)
A(weights_l2_wpr4_pinv_4, li1, 1.37, 9.185, 0.17, 2.005, 10, 1, 1.08, 0)
R(weights_l2_wpr4_pinv_4, li1, [(0,-0.085,12.64,0.085), (0.31,-0.085,0.48,1.59), (12.13,0,12.3,0.46), (6.22,2.09,6.39,9.015), (0.32,5.39,0.49,5.72), (6.305,5.47,6.475,5.64), (0.31,9.185,0.48,11.19), (12.13,10.58,12.3,11.1), (0,11.02,12.64,11.19)])
R(weights_l2_wpr4_pinv_4, stdcell_id, [(0,0,12.64,11.1), (0,0,12.64,11.1)])
R(weights_l2_wpr4_pinv_4, nsdm, [(0,-0.19,12.64,0.19), (0,0,11.945,3.38)])
R(weights_l2_wpr4_pinv_4, psdm, [(0,7.725,11.945,11.105), (0,10.91,12.64,11.29)])
R(weights_l2_wpr4_pinv_4, boundary, [(0,0,12.64,11.1), (0,0,12.64,11.1)])
weights_l2_wpr4_pinv_4.add(gdstk.Reference(weights_l2_wpr4_pmos_m21, (0.27,7.85)))
weights_l2_wpr4_pinv_4.add(gdstk.Reference(weights_l2_wpr4_nmos_m21, (0.27,0.255)))
weights_l2_wpr4_pinv_4.add(gdstk.Reference(c_weights_l2_wpr4_contact__, (12.09,10.375)))
weights_l2_wpr4_pinv_4.add(gdstk.Reference(c_weights_l2_wpr4_contact___, (12.09,0.255)))
weights_l2_wpr4_pinv_4.add(gdstk.Reference(c_weights_l2_wpr4_contact____, (0.24,5.39)))
weights_l2_wpr4_pinv_4.add(gdstk.Label('A', (0.405,5.555), layer=67, texttype=5))
weights_l2_wpr4_pinv_4.add(gdstk.Label('Z', (6.39,5.555), layer=67, texttype=5))
weights_l2_wpr4_pinv_4.add(gdstk.Label('gnd', (6.32,0), layer=67, texttype=5))
weights_l2_wpr4_pinv_4.add(gdstk.Label('vdd', (6.32,11.105), layer=67, texttype=5))

weights_l2_wpr4_rom_prec = lib.new_cell('weights_l2_wpr4_rom_precharge_driver')
R(weights_l2_wpr4_rom_prec, nwell, [(-0.18,5.33,29.26,11.39)])
R(weights_l2_wpr4_rom_prec, li1, [(0,-0.085,29.08,0.085), (0.32,5.2,0.49,5.53), (9.355,5.22,9.525,5.39), (9.44,5.22,11.765,5.39), (0.98,5.28,2.245,5.45), (2.82,5.28,4.085,5.45), (6.435,5.28,6.605,5.45), (6.52,5.28,8.305,5.45), (9.355,5.305,9.525,5.365), (13.885,5.305,14.055,5.555), (4.575,5.34,4.745,5.51), (4.66,5.34,5.925,5.51), (4.575,5.365,4.745,5.425), (6.435,5.365,6.605,5.425), (13.885,5.47,14.055,5.64), (13.97,5.47,16.845,5.64), (22.745,5.47,22.915,5.64), (0,11.015,29.08,11.185)])
R(weights_l2_wpr4_rom_prec, stdcell_id, [(0,0,29.08,11.1), (0,0,29.08,11.1)])
R(weights_l2_wpr4_rom_prec, nsdm, [(0,-0.19,29.08,0.19)])
R(weights_l2_wpr4_rom_prec, psdm, [(0,10.91,29.08,11.29)])
R(weights_l2_wpr4_rom_prec, boundary, [(0,0,29.08,11.1), (0,0,29.08,11.1)])
weights_l2_wpr4_rom_prec.add(gdstk.Reference(weights_l2_wpr4_pinv, (0,0)))
weights_l2_wpr4_rom_prec.add(gdstk.Reference(weights_l2_wpr4_pinv, (1.84,0)))
weights_l2_wpr4_rom_prec.add(gdstk.Reference(weights_l2_wpr4_pinv, (3.68,0)))
weights_l2_wpr4_rom_prec.add(gdstk.Reference(weights_l2_wpr4_pinv_0, (5.52,0)))
weights_l2_wpr4_rom_prec.add(gdstk.Reference(weights_l2_wpr4_pinv_2, (7.9,0)))
weights_l2_wpr4_rom_prec.add(gdstk.Reference(weights_l2_wpr4_pinv_3, (11.36,0)))
weights_l2_wpr4_rom_prec.add(gdstk.Reference(weights_l2_wpr4_pinv_4, (16.44,0)))
weights_l2_wpr4_rom_prec.add(gdstk.Label('Z', (22.83,5.555), layer=67, texttype=5))
weights_l2_wpr4_rom_prec.add(gdstk.Label('A', (0.405,5.365), layer=67, texttype=5))
weights_l2_wpr4_rom_prec.add(gdstk.Label('gnd', (14.54,0), layer=67, texttype=5))
weights_l2_wpr4_rom_prec.add(gdstk.Label('vdd', (14.54,11.1), layer=67, texttype=5))

lib.write_gds('weights_l2_wpr4_rom_precharge_driver.gds')
